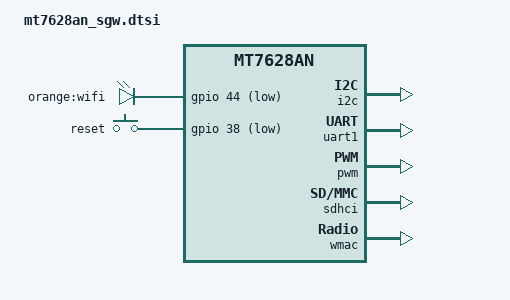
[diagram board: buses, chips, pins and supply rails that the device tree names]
#include "mt7628an.dtsi"

#include <dt-bindings/gpio/gpio.h>
#include <dt-bindings/input/input.h>

/ {
	compatible = "sgw,homed-32m", "mediatek,mt7628an-soc";

	aliases {
		led-boot = &led_wifi;
		led-failsafe = &led_wifi;
		led-running = &led_wifi;
		led-upgrade = &led_wifi;
	};

	chosen {
		bootargs = "console=ttyS0,57600";
	};

	leds {
		compatible = "gpio-leds";

		led_wifi: wifi {
			label = "orange:wifi";
			gpios = <&gpio 44 GPIO_ACTIVE_LOW>;
			default-state = "on";
		};
	};

	keys {
		compatible = "gpio-keys";

		reset {
			label = "reset";
			gpios = <&gpio 38 GPIO_ACTIVE_LOW>;
			linux,code = <KEY_RESTART>;
		};
	};


};

&state_default {
	gpio {
		groups = "gpio";
		function = "gpio";
	};

	perst {
		groups = "perst";
		function = "gpio";
	};

	refclk {
		groups = "refclk";
		function = "gpio";
	};

	i2s {
		groups = "i2s";
		function = "gpio";
	};

	spis {
		groups = "spis";
		function = "gpio";
	};

	wled_kn {
		groups = "wled_kn";
		function = "gpio";
	};

	wled_an {
		groups = "wled_an";
		function = "wled_an";
	};

	wdt {
		groups = "wdt";
		function = "gpio";
	};
};

&i2c {
	status = "okay";
};

&uart1 {
	status = "okay";
};

&pwm {
	status = "okay";
};

&ethernet {
	mtd-mac-address = <&factory 0x28>;
};

&sdhci {
	status = "okay";
	mediatek,cd-low;
};

&wmac {
	status = "okay";
};
